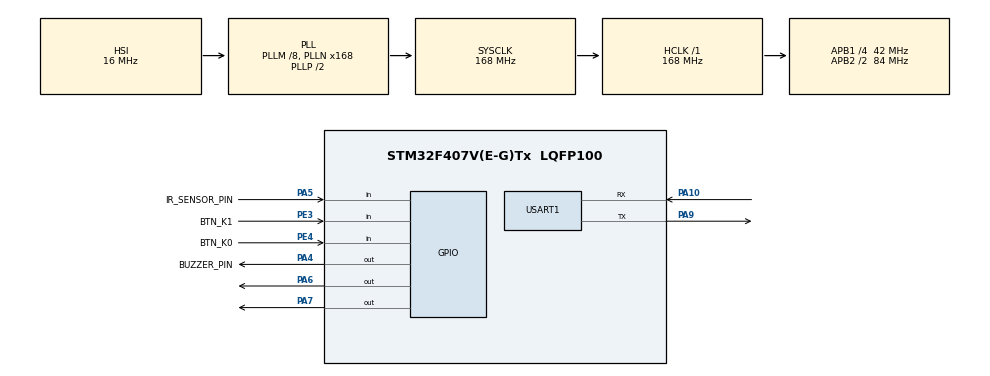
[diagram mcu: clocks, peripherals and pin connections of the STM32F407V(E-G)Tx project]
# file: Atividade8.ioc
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FREERTOS.BinarySemaphores01=semaforoSensor,Dynamic,NULL,Depleted;semaforoSupervisao,Dynamic,NULL,Depleted;semaforoAlarme,Dynamic,NULL,Depleted;semaforoOperacao,Dynamic,NULL,Available
FREERTOS.Mutexes01=mutexUart,Dynamic,NULL,Available;mutexValorProcessado,Dynamic,NULL,Available;mutexVariavelEstatisticas,Dynamic,NULL,Available
FREERTOS.Tasks01=TaskSensor,24,128,TaskSensor_fun,Default,NULL,Dynamic,NULL,NULL;TaskProcessamen,24,128,TaskProcessamento_fun,Default,NULL,Dynamic,NULL,NULL;TaskSupervisao,24,128,TaskSupervisao_fun,Default,NULL,Dynamic,NULL,NULL;TaskLog,8,128,TaskLog_fun,Default,NULL,Dynamic,NULL,NULL;TaskAlarme,24,128,TaskAlarme_fun,Default,NULL,Dynamic,NULL,NULL
Mcu.Family=STM32F4
Mcu.Name=STM32F407V(E-G)Tx
Mcu.Package=LQFP100
NVIC.PriorityGroup=NVIC_PRIORITYGROUP_4
NVIC.TIM1_UP_TIM10_IRQn=true\:15\:0\:false\:false\:true\:false\:false\:true\:true
NVIC.TimeBase=TIM1_UP_TIM10_IRQn
NVIC.TimeBaseIP=TIM1
PA10.Mode=Asynchronous
PA10.Signal=USART1_RX
PA4.GPIO_Label=BUZZER_PIN
PA4.Signal=GPIO_Output
PA5.GPIO_Label=IR_SENSOR_PIN
PA5.Signal=GPIO_Input
PA6.Signal=GPIO_Output
PA7.Signal=GPIO_Output
PA9.Mode=Asynchronous
PA9.Signal=USART1_TX
PE3.GPIO_Label=BTN_K1
PE3.GPIO_PuPd=GPIO_PULLUP
PE3.Signal=GPIO_Input
PE4.GPIO_Label=BTN_K0
PE4.GPIO_PuPd=GPIO_PULLUP
PE4.Signal=GPIO_Input
ProjectManager.HeapSize=0x200
ProjectManager.StackSize=0x400
ProjectManager.TargetToolchain=STM32CubeIDE
RCC.48MHZClocksFreq_Value=84000000
RCC.AHBFreq_Value=168000000
RCC.APB1CLKDivider=RCC_HCLK_DIV4
RCC.APB1Freq_Value=42000000
RCC.APB1TimFreq_Value=84000000
RCC.APB2CLKDivider=RCC_HCLK_DIV2
RCC.APB2Freq_Value=84000000
RCC.APB2TimFreq_Value=168000000
RCC.CortexFreq_Value=168000000
RCC.HCLKFreq_Value=168000000
RCC.HSE_VALUE=25000000
RCC.HSI_VALUE=16000000
RCC.LSE_VALUE=32768
RCC.PLLM=8
RCC.PLLN=168
RCC.SYSCLKFreq_VALUE=168000000
RCC.SYSCLKSource=RCC_SYSCLKSOURCE_PLLCLK
RCC.VCOOutputFreq_Value=336000000
USART1.VirtualMode=VM_ASYNC
VP_FREERTOS_VS_CMSIS_V2.Mode=CMSIS_V2
VP_SYS_VS_tim1.Mode=TIM1
board=custom

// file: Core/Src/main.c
/* USER CODE BEGIN Header */
/**
  ******************************************************************************
  * @file           : main.c
  * @brief          : Main program body
  ******************************************************************************
  * @attention
  *
  * Copyright (c) 2026 STMicroelectronics.
  * All rights reserved.
  *
  * This software is licensed under terms that can be found in the LICENSE file
  * in the root directory of this software component.
  * If no LICENSE file comes with this software, it is provided AS-IS.
  *
  ******************************************************************************
  */
/* USER CODE END Header */
#include "main.h"
#include "cmsis_os.h"

/* USER CODE BEGIN Includes */
#include <stdio.h>
#include <stdlib.h>
/* USER CODE END Includes */

UART_HandleTypeDef huart1;

/* Definitions for TaskSensor */
osThreadId_t TaskSensorHandle;
const osThreadAttr_t TaskSensor_attributes = {
  .name = "TaskSensor",
  .stack_size = 128 * 4,
  .priority = (osPriority_t) osPriorityNormal,
};
/* Definitions for TaskProcessamen */
osThreadId_t TaskProcessamenHandle;
const osThreadAttr_t TaskProcessamen_attributes = {
  .name = "TaskProcessamen",
  .stack_size = 128 * 4,
  .priority = (osPriority_t) osPriorityNormal,
};
/* Definitions for TaskSupervisao */
osThreadId_t TaskSupervisaoHandle;
const osThreadAttr_t TaskSupervisao_attributes = {
  .name = "TaskSupervisao",
  .stack_size = 128 * 4,
  .priority = (osPriority_t) osPriorityNormal,
};
/* Definitions for TaskLog */
osThreadId_t TaskLogHandle;
const osThreadAttr_t TaskLog_attributes = {
  .name = "TaskLog",
  .stack_size = 128 * 4,
  .priority = (osPriority_t) osPriorityLow,
};
/* Definitions for TaskAlarme */
osThreadId_t TaskAlarmeHandle;
const osThreadAttr_t TaskAlarme_attributes = {
  .name = "TaskAlarme",
  .stack_size = 128 * 4,
  .priority = (osPriority_t) osPriorityNormal,
};
/* Definitions for mutexUart */
osMutexId_t mutexUartHandle;
const osMutexAttr_t mutexUart_attributes = {
  .name = "mutexUart"
};
/* Definitions for mutexValorProcessado */
osMutexId_t mutexValorProcessadoHandle;
const osMutexAttr_t mutexValorProcessado_attributes = {
  .name = "mutexValorProcessado"
};
/* Definitions for mutexVariavelEstatisticas */
osMutexId_t mutexVariavelEstatisticasHandle;
const osMutexAttr_t mutexVariavelEstatisticas_attributes = {
  .name = "mutexVariavelEstatisticas"
};
/* Definitions for semaforoSensor */
osSemaphoreId_t semaforoSensorHandle;
const osSemaphoreAttr_t semaforoSensor_attributes = {
  .name = "semaforoSensor"
};
/* Definitions for semaforoSupervisao */
osSemaphoreId_t semaforoSupervisaoHandle;
const osSemaphoreAttr_t semaforoSupervisao_attributes = {
  .name = "semaforoSupervisao"
};
/* Definitions for semaforoAlarme */
osSemaphoreId_t semaforoAlarmeHandle;
const osSemaphoreAttr_t semaforoAlarme_attributes = {
  .name = "semaforoAlarme"
};
/* Definitions for semaforoOperacao */
osSemaphoreId_t semaforoOperacaoHandle;
const osSemaphoreAttr_t semaforoOperacao_attributes = {
  .name = "semaforoOperacao"
};
/* USER CODE BEGIN PV */
int valorProcessado = 0;
int pecasOK = 0;
int pecasFalha = 0;
/* USER CODE END PV */

void SystemClock_Config(void);
static void MX_GPIO_Init(void);
static void MX_USART1_UART_Init(void);
void TaskSensor_fun(void *argument);
void TaskProcessamento_fun(void *argument);
void TaskSupervisao_fun(void *argument);
void TaskLog_fun(void *argument);
void TaskAlarme_fun(void *argument);

int main(void)
{

  /* MCU Configuration--------------------------------------------------------*/

  /* Reset of all peripherals, Initializes the Flash interface and the Systick. */
  HAL_Init();

  /* Configure the system clock */
  SystemClock_Config();

  /* Initialize all configured peripherals */
  MX_GPIO_Init();
  MX_USART1_UART_Init();
  /* USER CODE BEGIN 2 */
  srand((unsigned int)HAL_GetTick());
  /* USER CODE END 2 */

  /* Init scheduler */
  osKernelInitialize();
  /* Create the mutex(es) */
  /* creation of mutexUart */
  mutexUartHandle = osMutexNew(&mutexUart_attributes);

  /* creation of mutexValorProcessado */
  mutexValorProcessadoHandle = osMutexNew(&mutexValorProcessado_attributes);

  /* creation of mutexVariavelEstatisticas */
  mutexVariavelEstatisticasHandle = osMutexNew(&mutexVariavelEstatisticas_attributes);

  /* Create the semaphores(s) */
  /* creation of semaforoSensor */
  semaforoSensorHandle = osSemaphoreNew(1, 0, &semaforoSensor_attributes);

  /* creation of semaforoSupervisao */
  semaforoSupervisaoHandle = osSemaphoreNew(1, 0, &semaforoSupervisao_attributes);

  /* creation of semaforoAlarme */
  semaforoAlarmeHandle = osSemaphoreNew(1, 0, &semaforoAlarme_attributes);

  /* creation of semaforoOperacao */
  semaforoOperacaoHandle = osSemaphoreNew(1, 1, &semaforoOperacao_attributes);

  /* Create the thread(s) */
  /* creation of TaskSensor */
  TaskSensorHandle = osThreadNew(TaskSensor_fun, NULL, &TaskSensor_attributes);

  /* creation of TaskProcessamen */
  TaskProcessamenHandle = osThreadNew(TaskProcessamento_fun, NULL, &TaskProcessamen_attributes);

  /* creation of TaskSupervisao */
  TaskSupervisaoHandle = osThreadNew(TaskSupervisao_fun, NULL, &TaskSupervisao_attributes);

  /* creation of TaskLog */
  TaskLogHandle = osThreadNew(TaskLog_fun, NULL, &TaskLog_attributes);

  /* creation of TaskAlarme */
  TaskAlarmeHandle = osThreadNew(TaskAlarme_fun, NULL, &TaskAlarme_attributes);

  /* Start scheduler */
  osKernelStart();

  /* We should never get here as control is now taken by the scheduler */

  /* Infinite loop */
  while (1)
  {

  }
}

void SystemClock_Config(void)
{
  RCC_OscInitTypeDef RCC_OscInitStruct = {0};
  RCC_ClkInitTypeDef RCC_ClkInitStruct = {0};

  /** Configure the main internal regulator output voltage
  */
  __HAL_RCC_PWR_CLK_ENABLE();
  __HAL_PWR_VOLTAGESCALING_CONFIG(PWR_REGULATOR_VOLTAGE_SCALE1);

  /** Initializes the RCC Oscillators according to the specified parameters
  * in the RCC_OscInitTypeDef structure.
  */
  RCC_OscInitStruct.OscillatorType = RCC_OSCILLATORTYPE_HSI;
  RCC_OscInitStruct.HSIState = RCC_HSI_ON;
  RCC_OscInitStruct.HSICalibrationValue = RCC_HSICALIBRATION_DEFAULT;
  RCC_OscInitStruct.PLL.PLLState = RCC_PLL_ON;
  RCC_OscInitStruct.PLL.PLLSource = RCC_PLLSOURCE_HSI;
  RCC_OscInitStruct.PLL.PLLM = 8;
  RCC_OscInitStruct.PLL.PLLN = 168;
  RCC_OscInitStruct.PLL.PLLP = RCC_PLLP_DIV2;
  RCC_OscInitStruct.PLL.PLLQ = 4;
  if (HAL_RCC_OscConfig(&RCC_OscInitStruct) != HAL_OK)
  {
    Error_Handler();
  }

  /** Initializes the CPU, AHB and APB buses clocks
  */
  RCC_ClkInitStruct.ClockType = RCC_CLOCKTYPE_HCLK|RCC_CLOCKTYPE_SYSCLK
                              |RCC_CLOCKTYPE_PCLK1|RCC_CLOCKTYPE_PCLK2;
  RCC_ClkInitStruct.SYSCLKSource = RCC_SYSCLKSOURCE_PLLCLK;
  RCC_ClkInitStruct.AHBCLKDivider = RCC_SYSCLK_DIV1;
  RCC_ClkInitStruct.APB1CLKDivider = RCC_HCLK_DIV4;
  RCC_ClkInitStruct.APB2CLKDivider = RCC_HCLK_DIV2;

  if (HAL_RCC_ClockConfig(&RCC_ClkInitStruct, FLASH_LATENCY_5) != HAL_OK)
  {
    Error_Handler();
  }
}

static void MX_USART1_UART_Init(void)
{

  huart1.Instance = USART1;
  huart1.Init.BaudRate = 115200;
  huart1.Init.WordLength = UART_WORDLENGTH_8B;
  huart1.Init.StopBits = UART_STOPBITS_1;
  huart1.Init.Parity = UART_PARITY_NONE;
  huart1.Init.Mode = UART_MODE_TX_RX;
  huart1.Init.HwFlowCtl = UART_HWCONTROL_NONE;
  huart1.Init.OverSampling = UART_OVERSAMPLING_16;
  if (HAL_UART_Init(&huart1) != HAL_OK)
  {
    Error_Handler();
  }

}

static void MX_GPIO_Init(void)
{
  GPIO_InitTypeDef GPIO_InitStruct = {0};

  /* GPIO Ports Clock Enable */
  __HAL_RCC_GPIOE_CLK_ENABLE();
  __HAL_RCC_GPIOA_CLK_ENABLE();

  /*Configure GPIO pin Output Level */
  HAL_GPIO_WritePin(GPIOA, BUZZER_PIN_Pin|GPIO_PIN_6|GPIO_PIN_7, GPIO_PIN_RESET);

  /*Configure GPIO pins : BTN_K1_Pin BTN_K0_Pin */
  GPIO_InitStruct.Pin = BTN_K1_Pin|BTN_K0_Pin;
  GPIO_InitStruct.Mode = GPIO_MODE_INPUT;
  GPIO_InitStruct.Pull = GPIO_PULLUP;
  HAL_GPIO_Init(GPIOE, &GPIO_InitStruct);

  /*Configure GPIO pins : BUZZER_PIN_Pin PA6 PA7 */
  GPIO_InitStruct.Pin = BUZZER_PIN_Pin|GPIO_PIN_6|GPIO_PIN_7;
  GPIO_InitStruct.Mode = GPIO_MODE_OUTPUT_PP;
  GPIO_InitStruct.Pull = GPIO_NOPULL;
  GPIO_InitStruct.Speed = GPIO_SPEED_FREQ_LOW;
  HAL_GPIO_Init(GPIOA, &GPIO_InitStruct);

  /*Configure GPIO pin : IR_SENSOR_PIN_Pin */
  GPIO_InitStruct.Pin = IR_SENSOR_PIN_Pin;
  GPIO_InitStruct.Mode = GPIO_MODE_INPUT;
  GPIO_InitStruct.Pull = GPIO_NOPULL;
  HAL_GPIO_Init(IR_SENSOR_PIN_GPIO_Port, &GPIO_InitStruct);

}

/* USER CODE BEGIN 4 */
int _write(int file, char *ptr, int len) {
    // Transmite os dados recebidos pelo printf via UART
    HAL_UART_Transmit(&huart1, (uint8_t*)ptr, len, HAL_MAX_DELAY);
    return len;
}
/* USER CODE END 4 */

void TaskSensor_fun(void *argument)
{
  /* USER CODE BEGIN 5 */

  /* Infinite loop */
  for(;;)
  {
	osSemaphoreAcquire(semaforoOperacaoHandle, osWaitForever); // Semáforo de permissão para operar

	if(HAL_GPIO_ReadPin(IR_SENSOR_PIN_GPIO_Port, IR_SENSOR_PIN_Pin) == GPIO_PIN_RESET){ // SENSOR ATIVO EM NÍVEL LÓGICO BAIXO
    	osSemaphoreRelease(semaforoSensorHandle);
    	osDelay(100);
    	while(HAL_GPIO_ReadPin(IR_SENSOR_PIN_GPIO_Port, IR_SENSOR_PIN_Pin) == GPIO_PIN_RESET);
    }

	osSemaphoreRelease(semaforoOperacaoHandle);
    osDelay(10);
  }
  /* USER CODE END 5 */
}

void TaskProcessamento_fun(void *argument)
{
  /* USER CODE BEGIN TaskProcessamento_fun */
  /* Infinite loop */
  for(;;)
  {
	  if(osSemaphoreAcquire(semaforoSensorHandle, osWaitForever) == osOK){

		  osMutexAcquire(mutexValorProcessadoHandle, osWaitForever);
		  valorProcessado = (rand() % 100);
		  osMutexRelease(mutexValorProcessadoHandle);

		  osSemaphoreRelease(semaforoSupervisaoHandle);
	  }
  }
  /* USER CODE END TaskProcessamento_fun */
}

void TaskSupervisao_fun(void *argument)
{
  /* USER CODE BEGIN TaskSupervisao_fun */
  int valorProcessadoLocal = 0;
  /* Infinite loop */
  for(;;)
  {

	  if(osSemaphoreAcquire(semaforoSupervisaoHandle, osWaitForever) == osOK){

		  osMutexAcquire(mutexValorProcessadoHandle, osWaitForever);
		  valorProcessadoLocal = valorProcessado;
		  osMutexRelease(mutexValorProcessadoHandle);

		  osMutexAcquire(mutexUartHandle, osWaitForever);
		  osMutexAcquire(mutexVariavelEstatisticasHandle, osWaitForever);

		  if(valorProcessadoLocal >= 95){
			  pecasFalha++;
			  printf("[%lu ms] ERRO DETECTADO - Necessária intervenção manual\r\n", osKernelGetTickCount());
			  osSemaphoreRelease(semaforoAlarmeHandle);

		  } else {
			  pecasOK++;
			  printf("[%lu ms] Peça processada no valor de %d\r\n", osKernelGetTickCount(), valorProcessadoLocal);
		  }

		  osMutexRelease(mutexUartHandle);
		  osMutexRelease(mutexVariavelEstatisticasHandle);

	  }
  }
  /* USER CODE END TaskSupervisao_fun */
}

void TaskLog_fun(void *argument)
{
  /* USER CODE BEGIN TaskLog_fun */
  /* Infinite loop */
  for(;;)
  {
	osMutexAcquire(mutexUartHandle, osWaitForever);
	osMutexAcquire(mutexVariavelEstatisticasHandle, osWaitForever);
	printf("[%lu ms][LOG] PEÇAS PROCESSADAS: %d ERROS REGISTRADOS: %d\r\n", osKernelGetTickCount(), pecasOK, pecasFalha);
	osMutexRelease(mutexUartHandle);
	osMutexRelease(mutexVariavelEstatisticasHandle);
	osDelay(10000);
  }
  /* USER CODE END TaskLog_fun */
}

void TaskAlarme_fun(void *argument)
{
  /* USER CODE BEGIN TaskAlarme_fun */
  HAL_GPIO_WritePin(BUZZER_PIN_GPIO_Port, BUZZER_PIN_Pin, 0);
  /* Infinite loop */
  for(;;)
  {
	  if(osSemaphoreAcquire(semaforoAlarmeHandle, osWaitForever) == osOK){
		  osSemaphoreAcquire(semaforoOperacaoHandle, osWaitForever);
		  HAL_GPIO_WritePin(BUZZER_PIN_GPIO_Port, BUZZER_PIN_Pin, 1);

		  while(HAL_GPIO_ReadPin(BTN_K1_GPIO_Port, BTN_K1_Pin) == 1){
			  osDelay(50);
		  }

		  HAL_GPIO_WritePin(BUZZER_PIN_GPIO_Port, BUZZER_PIN_Pin, 0);
		  osSemaphoreRelease(semaforoOperacaoHandle);
	  }
  }
  /* USER CODE END TaskAlarme_fun */
}

void HAL_TIM_PeriodElapsedCallback(TIM_HandleTypeDef *htim)
{
  if (htim->Instance == TIM1)
  {
    HAL_IncTick();
  }
}

void Error_Handler(void)
{
  __disable_irq();
  while (1)
  {
  }
}
